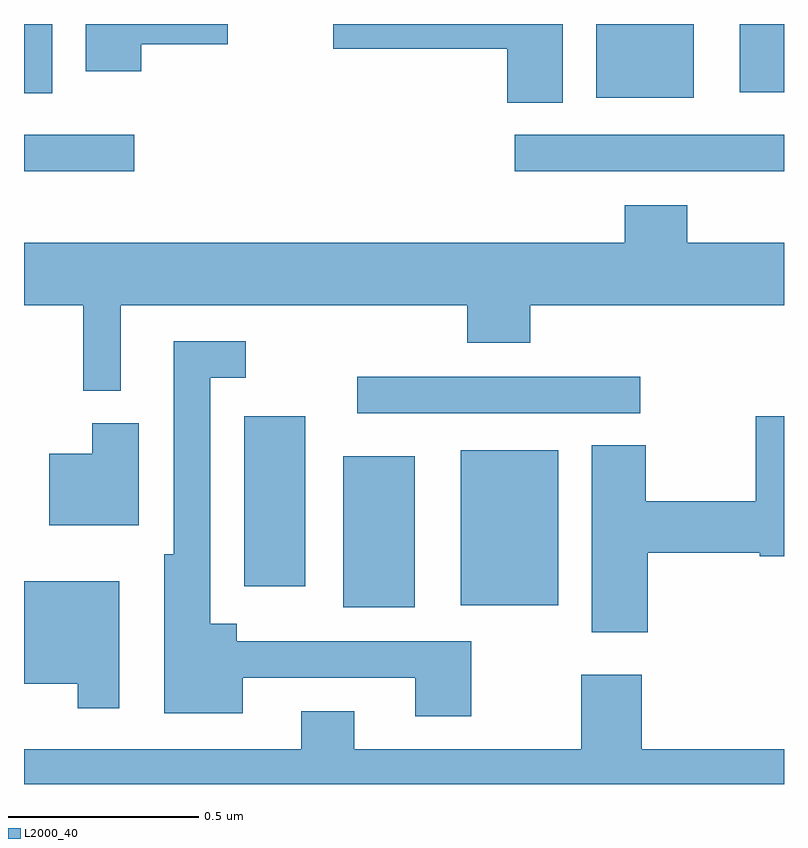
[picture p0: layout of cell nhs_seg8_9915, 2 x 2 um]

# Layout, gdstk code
import gdstk
lib = gdstk.Library(unit=1e-6, precision=1e-09)
def R(c, l, rs):  # rectangles x0, y0, x1, y1
    for r in rs: c.add(gdstk.rectangle(r[:2], r[2:], *l))
def P(c, l, *ps):  # polygons
    for p in ps: c.add(gdstk.Polygon(p, *l))
L2000_40 = (2000, 40)

nhs_seg8_9915 = lib.new_cell('nhs_seg8_9915')
R(nhs_seg8_9915, L2000_40, [(242.84,1122.365,243.028,1122.763), (243.149,1122.371,243.406,1122.778), (242.579,1122.42,242.74,1122.868), (242.877,1122.876,243.622,1122.972), (242,1123.512,242.29,1123.608), (243.291,1123.512,244,1123.608), (243.506,1123.706,243.763,1123.9), (242,1123.718,242.074,1123.9), (243.884,1123.721,244,1123.9)])
P(nhs_seg8_9915, L2000_40, [(243.418,1123.9),(242.814,1123.9),(242.814,1123.835),(243.272,1123.835),(243.272,1123.693),(243.418,1123.693)],
  [(242.309,1123.847),(242.536,1123.847),(242.536,1123.9),(242.162,1123.9),(242.162,1123.776),(242.309,1123.776)],
  [(242.254,1123.16),(243.167,1123.16),(243.167,1123.061),(243.332,1123.061),(243.332,1123.16),(244,1123.16),(244,1123.324),(243.746,1123.324),(243.746,1123.423),(243.581,1123.423),(243.581,1123.324),(242,1123.324),(242,1123.16),(242.156,1123.16),(242.156,1122.935),(242.254,1122.935)],
  [(243.177,1122.276),(242.56,1122.276),(242.56,1122.322),(242.49,1122.322),(242.49,1122.969),(242.584,1122.969),(242.584,1123.065),(242.394,1123.065),(242.394,1122.504),(242.369,1122.504),(242.369,1122.086),(242.575,1122.086),(242.575,1122.18),(243.029,1122.18),(243.029,1122.078),(243.177,1122.078)],
  [(243.641,1122.508),(243.936,1122.508),(243.936,1122.5),(244,1122.5),(244,1122.868),(243.925,1122.868),(243.925,1122.644),(243.636,1122.644),(243.636,1122.791),(243.494,1122.791),(243.494,1122.3),(243.641,1122.3)],
  [(242.302,1122.85),(242.18,1122.85),(242.18,1122.769),(242.066,1122.769),(242.066,1122.581),(242.302,1122.581)],
  [(242.25,1122.433),(242,1122.433),(242,1122.164),(242.142,1122.164),(242.142,1122.099),(242.25,1122.099)],
  [(244,1121.992),(243.626,1121.992),(243.626,1122.187),(243.466,1122.187),(243.466,1121.992),(242.869,1121.992),(242.869,1122.091),(242.729,1122.091),(242.729,1121.992),(242,1121.992),(242,1121.9),(244,1121.9)])

lib.write_gds('nhs_seg8_9915.gds')
